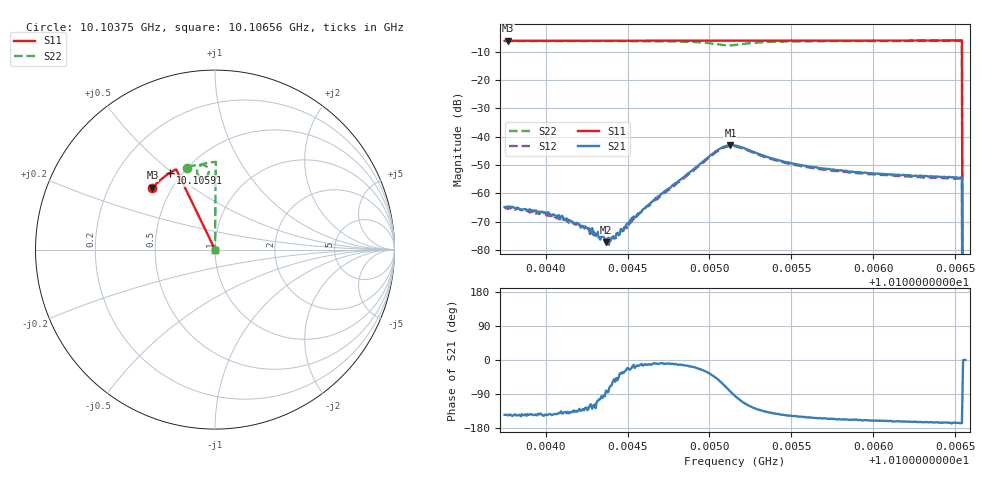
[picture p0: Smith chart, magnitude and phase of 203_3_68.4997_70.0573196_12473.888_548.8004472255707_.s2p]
#  HZ  S  RI  R  50.00
! Rohde & Schwarz Vector Network Analyzer
! Rohde-Schwarz,ZNB20-2Port,1311601062101988,3.16
! Created: UTC 3/20/2024, 5:12:50 PM
! freq[Hz]  re:S11  im:S11  re:S21  im:S21  re:S12  im:S12  re:S22  im:S22
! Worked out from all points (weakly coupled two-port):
!   401 points, 10.10375 GHz to 10.10656 GHz, reference 50 ohm
!   highest |S21| = -43.03 dB at 10.10513 GHz (marker M1); lowest = -77.2 dB at 10.10437 GHz (marker M2)
!   lowest |S11| = -6.2 dB at 10.10377 GHz (marker M3), VSWR 2.92, Z = 19.6 + j17.8 ohm
!   |S11| at or under -10 dB: 10.10654 GHz to end of sweep
!   |S22| runs from - to -6.2 dB; largest |S21 - S12| = 0.00073
!   S11 on the Smith chart (normalised r, x): 10.10375 GHz: 0.39, +0.35; 10.10591 GHz: 0.43, +0.49; 10.10656 GHz: 1.00, +0.00
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1.010375e10  -0.3493 0.3439  -0.000466 -0.00033  -0.000417 -0.000321  -0.1541 0.457
1.0103771e10  -0.3484 0.3447  -0.000486 -0.000324  -0.000395 -0.000346  -0.1527 0.4574
1.010401e10  -0.3385 0.3554  -0.000366 -0.00025  -0.00029 -0.000276  -0.1367 0.463
1.0104102e10  -0.3346 0.3594  -0.000314 -0.000249  -0.000266 -0.000261  -0.1304 0.4649
1.0104221e10  -0.3294 0.3646  -0.000178 -0.000191  -0.000171 -0.000205  -0.1219 0.4674
1.0104256e10  -0.3279 0.3661  -0.000166 -0.000182  -0.000132 -0.000179  -0.1194 0.4681
1.0104355e10  -0.3235 0.3703  -9.31e-06 -0.000167  1.44e-05 -0.000161  -0.1118 0.47
1.0104369e10  -0.3228 0.3708  2.28e-05 -0.000135  1.04e-05 -0.000157  -0.1107 0.47
1.0104383e10  -0.3223 0.3714  1.51e-05 -0.000164  2.42e-05 -0.000114  -0.1096 0.4704
1.0104411e10  -0.3209 0.3725  9.57e-05 -0.000145  9.13e-05 -0.000151  -0.1073 0.471
1.0104432e10  -0.3202 0.3734  0.00013 -0.000142  0.000126 -0.000102  -0.1056 0.4711
1.010453e10  -0.3158 0.3775  0.000354 -0.000105  0.00032 -9.36e-05  -0.0971 0.4725
1.0104692e10  -0.3084 0.3842  0.00087 -0.000147  0.000841 -5.38e-05  -0.0811 0.4735
1.0105036e10  -0.292 0.3973  0.00375 -0.00391  0.00395 -0.00339  -0.0349 0.4297
1.0105128e10  -0.2879 0.4004  0.000827 -0.00701  0.00144 -0.00666  -0.0683 0.4015
1.0105156e10  -0.2867 0.4014  -0.00058 -0.00695  6.62e-05 -0.00671  -0.0827 0.4054
1.0105402e10  -0.2749 0.4107  -0.00309 -0.00245  -0.00273 -0.00263  -0.0864 0.464
1.0105627e10  -0.2641 0.4186  -0.00257 -0.00135  -0.00235 -0.00152  -0.0638 0.477
1.0105915e10  -0.2494 0.4283  -0.00218 -0.000865  -0.00201 -0.000996  -0.0402 0.4834
1.0106098e10  -0.24 0.4342  -0.00201 -0.0007  -0.00189 -0.000834  -0.0266 0.4855
1.0106526e10  -0.2175 0.4472  -0.00183 -0.000438  -0.00172 -0.000597  0.00351 0.4881
1.0106562e10  0 0  0 0  0 0  0 0
